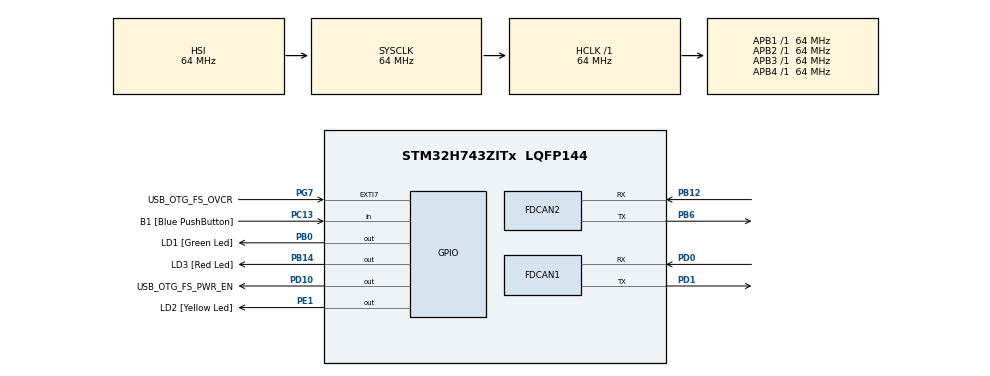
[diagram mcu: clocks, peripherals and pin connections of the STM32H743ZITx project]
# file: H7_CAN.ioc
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FDCAN1.AutoRetransmission=ENABLE
FDCAN1.DataPrescaler=25
FDCAN1.DataTimeSeg1=2
FDCAN1.FrameFormat=FDCAN_FRAME_FD_NO_BRS
FDCAN1.Mode=FDCAN_MODE_NORMAL
FDCAN1.NominalSyncJumpWidth=13
FDCAN1.NominalTimeSeg1=86
FDCAN1.NominalTimeSeg2=13
FDCAN1.RxFifo0ElmtSize=FDCAN_DATA_BYTES_12
FDCAN1.RxFifo0ElmtsNbr=1
FDCAN1.StdFiltersNbr=1
FDCAN1.TxElmtSize=FDCAN_DATA_BYTES_12
FDCAN1.TxFifoQueueElmtsNbr=1
FDCAN2.AutoRetransmission=ENABLE
FDCAN2.DataPrescaler=25
FDCAN2.DataTimeSeg1=2
FDCAN2.FrameFormat=FDCAN_FRAME_FD_NO_BRS
FDCAN2.MessageRAMOffset=11
FDCAN2.NominalSyncJumpWidth=13
FDCAN2.NominalTimeSeg1=86
FDCAN2.NominalTimeSeg2=13
FDCAN2.RxFifo1ElmtSize=FDCAN_DATA_BYTES_12
FDCAN2.RxFifo1ElmtsNbr=1
FDCAN2.StdFiltersNbr=1
Mcu.Family=STM32H7
Mcu.Name=STM32H743ZITx
Mcu.Package=LQFP144
NVIC.FDCAN1_IT0_IRQn=true\:0\:0\:false\:false\:true\:true\:true
NVIC.FDCAN2_IT0_IRQn=true\:0\:0\:false\:false\:true\:true\:true
NVIC.PriorityGroup=NVIC_PRIORITYGROUP_4
PA1.Signal=ETH_REF_CLK
PA11.Signal=USB_OTG_FS_DM
PA12.Signal=USB_OTG_FS_DP
PA2.Signal=ETH_MDIO
PA7.Signal=ETH_CRS_DV
PA8.Signal=USB_OTG_FS_SOF
PA9.Signal=USB_OTG_FS_VBUS
PB0.GPIO_Label=LD1 [Green Led]
PB0.Signal=GPIO_Output
PB12.Mode=FDCAN_Activate
PB12.Signal=FDCAN2_RX
PB13.Signal=ETH_TXD1
PB14.GPIO_Label=LD3 [Red Led]
PB14.Signal=GPIO_Output
PB6.Mode=FDCAN_Activate
PB6.Signal=FDCAN2_TX
PC1.Signal=ETH_MDC
PC13.GPIO_Label=B1 [Blue PushButton]
PC13.Signal=GPIO_Input
PC14-OSC32_IN\ (OSC32_IN).Signal=RCC_OSC32_IN
PC15-OSC32_OUT\ (OSC32_OUT).Signal=RCC_OSC32_OUT
PC4.Signal=ETH_RXD0
PC5.Signal=ETH_RXD1
PD0.Mode=FDCAN_Activate
PD0.Signal=FDCAN1_RX
PD1.Mode=FDCAN_Activate
PD1.Signal=FDCAN1_TX
PD10.GPIO_Label=USB_OTG_FS_PWR_EN
PD10.Signal=GPIO_Output
PD8.GPIO_Label=STLINK_RX
PD8.Signal=USART3_TX
PD9.GPIO_Label=STLINK_TX
PD9.Signal=USART3_RX
PE1.GPIO_Label=LD2 [Yellow Led]
PE1.Signal=GPIO_Output
PG11.Signal=ETH_TX_EN
PG13.Signal=ETH_TXD0
PG7.GPIO_Label=USB_OTG_FS_OVCR
PG7.Signal=GPXTI7
PH0-OSC_IN\ (PH0).Signal=RCC_OSC_IN
PH1-OSC_OUT\ (PH1).Signal=RCC_OSC_OUT
ProjectManager.HeapSize=0x200
ProjectManager.StackSize=0x400
ProjectManager.TargetToolchain=STM32CubeIDE
RCC.ADCFreq_Value=129000000
RCC.APB1Freq_Value=64000000
RCC.APB2Freq_Value=64000000
RCC.APB3Freq_Value=64000000
RCC.APB4Freq_Value=64000000
RCC.CortexFreq_Value=64000000
RCC.DIVM1=4
RCC.DIVN1=9
RCC.DIVQ1=3
RCC.HCLKFreq_Value=64000000
RCC.HSE_VALUE=8000000
RCC.PLL2FRACN=0
RCC.PLL3FRACN=0
RCC.PLLFRACN=3072
RCC.SYSCLKFreq_VALUE=64000000
RCC.USBFreq_Value=50000000
board=NUCLEO-H743ZI2

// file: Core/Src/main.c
/* USER CODE BEGIN Header */
/**
  ******************************************************************************
  * @file           : main.c
  * @brief          : Main program body
  ******************************************************************************
  * @attention
  *
  * Copyright (c) 2023 STMicroelectronics.
  * All rights reserved.
  *
  * This software is licensed under terms that can be found in the LICENSE file
  * in the root directory of this software component.
  * If no LICENSE file comes with this software, it is provided AS-IS.
  *
  ******************************************************************************
  */
/* USER CODE END Header */
#include "main.h"

/* USER CODE BEGIN Includes */
#include "stdio.h"
/* USER CODE END Includes */

FDCAN_HandleTypeDef hfdcan1;
FDCAN_HandleTypeDef hfdcan2;

void SystemClock_Config(void);
static void MX_GPIO_Init(void);
static void MX_FDCAN1_Init(void);
static void MX_FDCAN2_Init(void);

/* USER CODE BEGIN 0 */

		// FDCAN 1
		FDCAN_TxHeaderTypeDef   TxHeader1;
		FDCAN_RxHeaderTypeDef   RxHeader1;
		uint8_t               TxData1[12];
		uint8_t               RxData1[12];

		// FDCAN 2
		FDCAN_TxHeaderTypeDef   TxHeader2;
		FDCAN_RxHeaderTypeDef   RxHeader2;
		uint8_t               TxData2[12];
		uint8_t               RxData2[12];

		int indx = 0;

		// RX PART FDCAN1 Callback

		void HAL_FDCAN_RxFifo0Callback(FDCAN_HandleTypeDef *hfdcan, uint32_t RxFifo0ITs)
		{
		  if((RxFifo0ITs & FDCAN_IT_RX_FIFO0_NEW_MESSAGE) != RESET)
		  {
			/* Retreive Rx messages from RX FIFO0 */
			if (HAL_FDCAN_GetRxMessage(hfdcan, FDCAN_RX_FIFO0, &RxHeader1, RxData1) != HAL_OK)
			{
			/* Reception Error */
			Error_Handler();
			}
			if (HAL_FDCAN_ActivateNotification(hfdcan, FDCAN_IT_RX_FIFO0_NEW_MESSAGE, 0) != HAL_OK)
			{
			  /* Notification Error */
			  Error_Handler();
			}
		  }
		}

		// RX PART FDCAN2 Callback

		void HAL_FDCAN_RxFifo1Callback(FDCAN_HandleTypeDef *hfdcan, uint32_t RxFifo1ITs)
		{
		  if((RxFifo1ITs & FDCAN_IT_RX_FIFO1_NEW_MESSAGE) != RESET)
		  {
			/* Retreive Rx messages from RX FIFO1 */
			if (HAL_FDCAN_GetRxMessage(hfdcan, FDCAN_RX_FIFO1, &RxHeader2, RxData2) != HAL_OK)
			{
			/* Reception Error */
			Error_Handler();
			}
			if (HAL_FDCAN_ActivateNotification(hfdcan, FDCAN_IT_RX_FIFO1_NEW_MESSAGE, 0) != HAL_OK)
			{
			  /* Notification Error */
			  Error_Handler();
			}

			   sprintf ((char*)TxData2, "FDCAN2TX %d", indx++);

			   if (HAL_FDCAN_AddMessageToTxFifoQ(&hfdcan1, &TxHeader2, TxData2)!= HAL_OK)
			   {
			    Error_Handler();
			   }
		  }
		}

/* USER CODE END 0 */

int main(void)
{

  /* MCU Configuration--------------------------------------------------------*/

  /* Reset of all peripherals, Initializes the Flash interface and the Systick. */
  HAL_Init();

  /* Configure the system clock */
  SystemClock_Config();

  /* Initialize all configured peripherals */
  MX_GPIO_Init();
  MX_FDCAN1_Init();
  MX_FDCAN2_Init();
  /* USER CODE BEGIN 2 */

		// Start FDCAN1
		  if(HAL_FDCAN_Start(&hfdcan1)!= HAL_OK)
		  {
			  Error_Handler();
		  }

		  // Start FDCAN2
		  if(HAL_FDCAN_Start(&hfdcan2)!= HAL_OK)
		  {
			  Error_Handler();
		  }

		  // Activate notification for new data in FIFO0 for FDCAN1
		  if (HAL_FDCAN_ActivateNotification(&hfdcan1, FDCAN_IT_RX_FIFO0_NEW_MESSAGE, 0) != HAL_OK)
		  {
			/* Notification Error */
			Error_Handler();
		  }

		  // Activate notification for new data in FIFO1 for FDCAN2
		  if (HAL_FDCAN_ActivateNotification(&hfdcan2, FDCAN_IT_RX_FIFO1_NEW_MESSAGE, 0) != HAL_OK)
		  {
			/* Notification Error */
			Error_Handler();
		  }

	// Configure TX header fon FDCAN1
	  TxHeader1.Identifier = 0x11;
	  TxHeader1.IdType = FDCAN_STANDARD_ID;
	  TxHeader1.TxFrameType = FDCAN_DATA_FRAME;
	  TxHeader1.DataLength = FDCAN_DLC_BYTES_12;
	  TxHeader1.ErrorStateIndicator = FDCAN_ESI_ACTIVE;
	  TxHeader1.BitRateSwitch = FDCAN_BRS_OFF;
	  TxHeader1.FDFormat = FDCAN_FD_CAN;
	  TxHeader1.TxEventFifoControl = FDCAN_NO_TX_EVENTS;
	  TxHeader1.MessageMarker = 0;

	  // Configure TX header fon FDCAN2
		TxHeader2.Identifier = 0x122;
		TxHeader2.IdType = FDCAN_STANDARD_ID;
		TxHeader2.TxFrameType = FDCAN_DATA_FRAME;
		TxHeader2.DataLength = FDCAN_DLC_BYTES_12;
		TxHeader2.ErrorStateIndicator = FDCAN_ESI_ACTIVE;
		TxHeader2.BitRateSwitch = FDCAN_BRS_OFF;
		TxHeader2.FDFormat = FDCAN_FD_CAN;
		TxHeader2.TxEventFifoControl = FDCAN_NO_TX_EVENTS;
		TxHeader2.MessageMarker = 0;

  /* USER CODE END 2 */

  /* Infinite loop */
  while (1)
  {

    /* USER CODE BEGIN 3 */

	  while (1)
	  {

	   sprintf ((char*)TxData1, "FDCAN1TX %d", indx++);

	   if (HAL_FDCAN_AddMessageToTxFifoQ(&hfdcan1, &TxHeader1, TxData1)!= HAL_OK)
	   {
	    Error_Handler();
	   }

	   HAL_Delay (1000);
	  }
  }
  /* USER CODE END 3 */
}

void SystemClock_Config(void)
{
  RCC_OscInitTypeDef RCC_OscInitStruct = {0};
  RCC_ClkInitTypeDef RCC_ClkInitStruct = {0};

  /** Supply configuration update enable
  */
  HAL_PWREx_ConfigSupply(PWR_LDO_SUPPLY);
  /** Configure the main internal regulator output voltage
  */
  __HAL_PWR_VOLTAGESCALING_CONFIG(PWR_REGULATOR_VOLTAGE_SCALE3);

  while(!__HAL_PWR_GET_FLAG(PWR_FLAG_VOSRDY)) {}
  /** Initializes the RCC Oscillators according to the specified parameters
  * in the RCC_OscInitTypeDef structure.
  */
  RCC_OscInitStruct.OscillatorType = RCC_OSCILLATORTYPE_HSI;
  RCC_OscInitStruct.HSIState = RCC_HSI_DIV1;
  RCC_OscInitStruct.HSICalibrationValue = RCC_HSICALIBRATION_DEFAULT;
  RCC_OscInitStruct.PLL.PLLState = RCC_PLL_ON;
  RCC_OscInitStruct.PLL.PLLSource = RCC_PLLSOURCE_HSI;
  RCC_OscInitStruct.PLL.PLLM = 4;
  RCC_OscInitStruct.PLL.PLLN = 9;
  RCC_OscInitStruct.PLL.PLLP = 2;
  RCC_OscInitStruct.PLL.PLLQ = 3;
  RCC_OscInitStruct.PLL.PLLR = 2;
  RCC_OscInitStruct.PLL.PLLRGE = RCC_PLL1VCIRANGE_3;
  RCC_OscInitStruct.PLL.PLLVCOSEL = RCC_PLL1VCOMEDIUM;
  RCC_OscInitStruct.PLL.PLLFRACN = 3072;
  if (HAL_RCC_OscConfig(&RCC_OscInitStruct) != HAL_OK)
  {
    Error_Handler();
  }
  /** Initializes the CPU, AHB and APB buses clocks
  */
  RCC_ClkInitStruct.ClockType = RCC_CLOCKTYPE_HCLK|RCC_CLOCKTYPE_SYSCLK
                              |RCC_CLOCKTYPE_PCLK1|RCC_CLOCKTYPE_PCLK2
                              |RCC_CLOCKTYPE_D3PCLK1|RCC_CLOCKTYPE_D1PCLK1;
  RCC_ClkInitStruct.SYSCLKSource = RCC_SYSCLKSOURCE_HSI;
  RCC_ClkInitStruct.SYSCLKDivider = RCC_SYSCLK_DIV1;
  RCC_ClkInitStruct.AHBCLKDivider = RCC_HCLK_DIV1;
  RCC_ClkInitStruct.APB3CLKDivider = RCC_APB3_DIV1;
  RCC_ClkInitStruct.APB1CLKDivider = RCC_APB1_DIV1;
  RCC_ClkInitStruct.APB2CLKDivider = RCC_APB2_DIV1;
  RCC_ClkInitStruct.APB4CLKDivider = RCC_APB4_DIV1;

  if (HAL_RCC_ClockConfig(&RCC_ClkInitStruct, FLASH_LATENCY_1) != HAL_OK)
  {
    Error_Handler();
  }
}

static void MX_FDCAN1_Init(void)
{

  hfdcan1.Instance = FDCAN1;
  hfdcan1.Init.FrameFormat = FDCAN_FRAME_FD_NO_BRS;
  hfdcan1.Init.Mode = FDCAN_MODE_NORMAL;
  hfdcan1.Init.AutoRetransmission = ENABLE;
  hfdcan1.Init.TransmitPause = DISABLE;
  hfdcan1.Init.ProtocolException = DISABLE;
  hfdcan1.Init.NominalPrescaler = 1;
  hfdcan1.Init.NominalSyncJumpWidth = 13;
  hfdcan1.Init.NominalTimeSeg1 = 86;
  hfdcan1.Init.NominalTimeSeg2 = 13;
  hfdcan1.Init.DataPrescaler = 25;
  hfdcan1.Init.DataSyncJumpWidth = 1;
  hfdcan1.Init.DataTimeSeg1 = 2;
  hfdcan1.Init.DataTimeSeg2 = 1;
  hfdcan1.Init.MessageRAMOffset = 0;
  hfdcan1.Init.StdFiltersNbr = 1;
  hfdcan1.Init.ExtFiltersNbr = 0;
  hfdcan1.Init.RxFifo0ElmtsNbr = 1;
  hfdcan1.Init.RxFifo0ElmtSize = FDCAN_DATA_BYTES_12;
  hfdcan1.Init.RxFifo1ElmtsNbr = 0;
  hfdcan1.Init.RxFifo1ElmtSize = FDCAN_DATA_BYTES_8;
  hfdcan1.Init.RxBuffersNbr = 0;
  hfdcan1.Init.RxBufferSize = FDCAN_DATA_BYTES_8;
  hfdcan1.Init.TxEventsNbr = 0;
  hfdcan1.Init.TxBuffersNbr = 0;
  hfdcan1.Init.TxFifoQueueElmtsNbr = 1;
  hfdcan1.Init.TxFifoQueueMode = FDCAN_TX_FIFO_OPERATION;
  hfdcan1.Init.TxElmtSize = FDCAN_DATA_BYTES_12;
  if (HAL_FDCAN_Init(&hfdcan1) != HAL_OK)
  {
    Error_Handler();
  }
  /* USER CODE BEGIN FDCAN1_Init 2 */

  FDCAN_FilterTypeDef sFilterConfig;

  sFilterConfig.IdType = FDCAN_STANDARD_ID;
  sFilterConfig.FilterIndex = 0;
  sFilterConfig.FilterType = FDCAN_FILTER_MASK;
  sFilterConfig.FilterConfig = FDCAN_FILTER_TO_RXFIFO0;
  sFilterConfig.FilterID1 = 0x11;
  sFilterConfig.FilterID2 = 0x22;
  sFilterConfig.RxBufferIndex = 0;
  if (HAL_FDCAN_ConfigFilter(&hfdcan1, &sFilterConfig) != HAL_OK)
  {
    /* Filter configuration Error */
    Error_Handler();
  }

  /* USER CODE END FDCAN1_Init 2 */

}

static void MX_FDCAN2_Init(void)
{

  hfdcan2.Instance = FDCAN2;
  hfdcan2.Init.FrameFormat = FDCAN_FRAME_FD_NO_BRS;
  hfdcan2.Init.Mode = FDCAN_MODE_NORMAL;
  hfdcan2.Init.AutoRetransmission = ENABLE;
  hfdcan2.Init.TransmitPause = DISABLE;
  hfdcan2.Init.ProtocolException = DISABLE;
  hfdcan2.Init.NominalPrescaler = 1;
  hfdcan2.Init.NominalSyncJumpWidth = 13;
  hfdcan2.Init.NominalTimeSeg1 = 86;
  hfdcan2.Init.NominalTimeSeg2 = 13;
  hfdcan2.Init.DataPrescaler = 25;
  hfdcan2.Init.DataSyncJumpWidth = 1;
  hfdcan2.Init.DataTimeSeg1 = 2;
  hfdcan2.Init.DataTimeSeg2 = 1;
  hfdcan2.Init.MessageRAMOffset = 11;
  hfdcan2.Init.StdFiltersNbr = 1;
  hfdcan2.Init.ExtFiltersNbr = 0;
  hfdcan2.Init.RxFifo0ElmtsNbr = 0;
  hfdcan2.Init.RxFifo0ElmtSize = FDCAN_DATA_BYTES_8;
  hfdcan2.Init.RxFifo1ElmtsNbr = 1;
  hfdcan2.Init.RxFifo1ElmtSize = FDCAN_DATA_BYTES_12;
  hfdcan2.Init.RxBuffersNbr = 0;
  hfdcan2.Init.RxBufferSize = FDCAN_DATA_BYTES_8;
  hfdcan2.Init.TxEventsNbr = 0;
  hfdcan2.Init.TxBuffersNbr = 0;
  hfdcan2.Init.TxFifoQueueElmtsNbr = 0;
  hfdcan2.Init.TxFifoQueueMode = FDCAN_TX_FIFO_OPERATION;
  hfdcan2.Init.TxElmtSize = FDCAN_DATA_BYTES_8;
  if (HAL_FDCAN_Init(&hfdcan2) != HAL_OK)
  {
    Error_Handler();
  }
  /* USER CODE BEGIN FDCAN2_Init 2 */
  FDCAN_FilterTypeDef sFilterConfig;

  sFilterConfig.IdType = FDCAN_STANDARD_ID;
  sFilterConfig.FilterIndex = 0;
  sFilterConfig.FilterType = FDCAN_FILTER_MASK;
  sFilterConfig.FilterConfig = FDCAN_FILTER_TO_RXFIFO1;
  sFilterConfig.FilterID1 = 0x11;
  sFilterConfig.FilterID2 = 0x22;
  sFilterConfig.RxBufferIndex = 0;
  if (HAL_FDCAN_ConfigFilter(&hfdcan2, &sFilterConfig) != HAL_OK)
  {
    /* Filter configuration Error */
    Error_Handler();
  }

  /* USER CODE END FDCAN2_Init 2 */

}

static void MX_GPIO_Init(void)
{
  GPIO_InitTypeDef GPIO_InitStruct = {0};

  /* GPIO Ports Clock Enable */
  __HAL_RCC_GPIOC_CLK_ENABLE();
  __HAL_RCC_GPIOH_CLK_ENABLE();
  __HAL_RCC_GPIOA_CLK_ENABLE();
  __HAL_RCC_GPIOB_CLK_ENABLE();
  __HAL_RCC_GPIOD_CLK_ENABLE();
  __HAL_RCC_GPIOG_CLK_ENABLE();
  __HAL_RCC_GPIOE_CLK_ENABLE();

  /*Configure GPIO pin Output Level */
  HAL_GPIO_WritePin(GPIOB, LD1_Pin|LD3_Pin, GPIO_PIN_RESET);

  /*Configure GPIO pin Output Level */
  HAL_GPIO_WritePin(USB_OTG_FS_PWR_EN_GPIO_Port, USB_OTG_FS_PWR_EN_Pin, GPIO_PIN_RESET);

  /*Configure GPIO pin Output Level */
  HAL_GPIO_WritePin(LD2_GPIO_Port, LD2_Pin, GPIO_PIN_RESET);

  /*Configure GPIO pin : B1_Pin */
  GPIO_InitStruct.Pin = B1_Pin;
  GPIO_InitStruct.Mode = GPIO_MODE_INPUT;
  GPIO_InitStruct.Pull = GPIO_NOPULL;
  HAL_GPIO_Init(B1_GPIO_Port, &GPIO_InitStruct);

  /*Configure GPIO pins : PC1 PC4 PC5 */
  GPIO_InitStruct.Pin = GPIO_PIN_1|GPIO_PIN_4|GPIO_PIN_5;
  GPIO_InitStruct.Mode = GPIO_MODE_AF_PP;
  GPIO_InitStruct.Pull = GPIO_NOPULL;
  GPIO_InitStruct.Speed = GPIO_SPEED_FREQ_LOW;
  GPIO_InitStruct.Alternate = GPIO_AF11_ETH;
  HAL_GPIO_Init(GPIOC, &GPIO_InitStruct);

  /*Configure GPIO pins : PA1 PA2 PA7 */
  GPIO_InitStruct.Pin = GPIO_PIN_1|GPIO_PIN_2|GPIO_PIN_7;
  GPIO_InitStruct.Mode = GPIO_MODE_AF_PP;
  GPIO_InitStruct.Pull = GPIO_NOPULL;
  GPIO_InitStruct.Speed = GPIO_SPEED_FREQ_LOW;
  GPIO_InitStruct.Alternate = GPIO_AF11_ETH;
  HAL_GPIO_Init(GPIOA, &GPIO_InitStruct);

  /*Configure GPIO pins : LD1_Pin LD3_Pin */
  GPIO_InitStruct.Pin = LD1_Pin|LD3_Pin;
  GPIO_InitStruct.Mode = GPIO_MODE_OUTPUT_PP;
  GPIO_InitStruct.Pull = GPIO_NOPULL;
  GPIO_InitStruct.Speed = GPIO_SPEED_FREQ_LOW;
  HAL_GPIO_Init(GPIOB, &GPIO_InitStruct);

  /*Configure GPIO pin : PB13 */
  GPIO_InitStruct.Pin = GPIO_PIN_13;
  GPIO_InitStruct.Mode = GPIO_MODE_AF_PP;
  GPIO_InitStruct.Pull = GPIO_NOPULL;
  GPIO_InitStruct.Speed = GPIO_SPEED_FREQ_LOW;
  GPIO_InitStruct.Alternate = GPIO_AF11_ETH;
  HAL_GPIO_Init(GPIOB, &GPIO_InitStruct);

  /*Configure GPIO pins : STLINK_RX_Pin STLINK_TX_Pin */
  GPIO_InitStruct.Pin = STLINK_RX_Pin|STLINK_TX_Pin;
  GPIO_InitStruct.Mode = GPIO_MODE_AF_PP;
  GPIO_InitStruct.Pull = GPIO_NOPULL;
  GPIO_InitStruct.Speed = GPIO_SPEED_FREQ_LOW;
  GPIO_InitStruct.Alternate = GPIO_AF7_USART3;
  HAL_GPIO_Init(GPIOD, &GPIO_InitStruct);

  /*Configure GPIO pin : USB_OTG_FS_PWR_EN_Pin */
  GPIO_InitStruct.Pin = USB_OTG_FS_PWR_EN_Pin;
  GPIO_InitStruct.Mode = GPIO_MODE_OUTPUT_PP;
  GPIO_InitStruct.Pull = GPIO_NOPULL;
  GPIO_InitStruct.Speed = GPIO_SPEED_FREQ_LOW;
  HAL_GPIO_Init(USB_OTG_FS_PWR_EN_GPIO_Port, &GPIO_InitStruct);

  /*Configure GPIO pin : USB_OTG_FS_OVCR_Pin */
  GPIO_InitStruct.Pin = USB_OTG_FS_OVCR_Pin;
  GPIO_InitStruct.Mode = GPIO_MODE_IT_RISING;
  GPIO_InitStruct.Pull = GPIO_NOPULL;
  HAL_GPIO_Init(USB_OTG_FS_OVCR_GPIO_Port, &GPIO_InitStruct);

  /*Configure GPIO pins : PA8 PA11 PA12 */
  GPIO_InitStruct.Pin = GPIO_PIN_8|GPIO_PIN_11|GPIO_PIN_12;
  GPIO_InitStruct.Mode = GPIO_MODE_AF_PP;
  GPIO_InitStruct.Pull = GPIO_NOPULL;
  GPIO_InitStruct.Speed = GPIO_SPEED_FREQ_LOW;
  GPIO_InitStruct.Alternate = GPIO_AF10_OTG1_FS;
  HAL_GPIO_Init(GPIOA, &GPIO_InitStruct);

  /*Configure GPIO pins : PG11 PG13 */
  GPIO_InitStruct.Pin = GPIO_PIN_11|GPIO_PIN_13;
  GPIO_InitStruct.Mode = GPIO_MODE_AF_PP;
  GPIO_InitStruct.Pull = GPIO_NOPULL;
  GPIO_InitStruct.Speed = GPIO_SPEED_FREQ_LOW;
  GPIO_InitStruct.Alternate = GPIO_AF11_ETH;
  HAL_GPIO_Init(GPIOG, &GPIO_InitStruct);

  /*Configure GPIO pin : LD2_Pin */
  GPIO_InitStruct.Pin = LD2_Pin;
  GPIO_InitStruct.Mode = GPIO_MODE_OUTPUT_PP;
  GPIO_InitStruct.Pull = GPIO_NOPULL;
  GPIO_InitStruct.Speed = GPIO_SPEED_FREQ_LOW;
  HAL_GPIO_Init(LD2_GPIO_Port, &GPIO_InitStruct);

}

void Error_Handler(void)
{
  __disable_irq();
  while (1)
  {
  }
}
